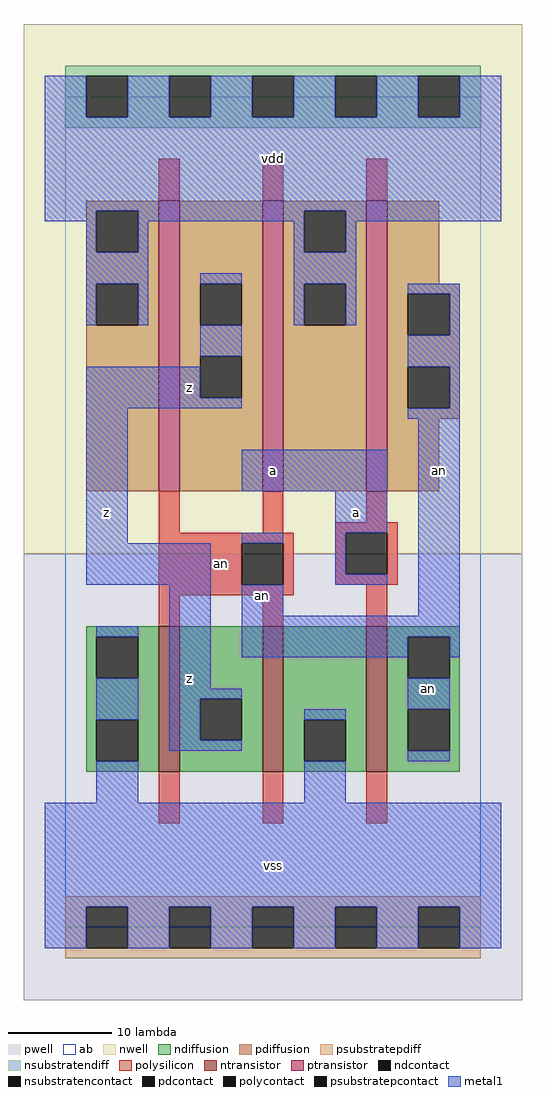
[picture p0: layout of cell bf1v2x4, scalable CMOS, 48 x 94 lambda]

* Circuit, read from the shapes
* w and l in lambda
.subckt bf1v2x4 a an vdd vss z
M1 z an vss vss nfet w=14 l=2 m=2
M2 an a vss vss nfet w=14 l=2
M3 z an vdd vdd pfet w=28 l=2 m=2
M4 an a vdd vdd pfet w=28 l=2
.ends

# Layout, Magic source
magic
tech scmos
<< ab >>
rect 0 0 40 80
<< pwell >>
rect -4 -7 44 36
<< nwell >>
rect -4 36 44 87
<< polysilicon >>
rect 9 70 11 74
rect 19 70 21 74
rect 29 70 31 74
rect 9 38 11 42
rect 19 38 21 42
rect 29 39 31 42
rect 26 38 32 39
rect 9 37 22 38
rect 9 33 17 37
rect 21 33 22 37
rect 26 34 27 38
rect 31 34 32 38
rect 26 33 32 34
rect 9 32 22 33
rect 9 29 11 32
rect 19 29 21 32
rect 29 29 31 33
rect 9 10 11 15
rect 19 10 21 15
rect 29 10 31 15
<< ndiffusion >>
rect 2 28 9 29
rect 2 24 3 28
rect 7 24 9 28
rect 2 20 9 24
rect 2 16 3 20
rect 7 16 9 20
rect 2 15 9 16
rect 11 22 19 29
rect 11 18 13 22
rect 17 18 19 22
rect 11 15 19 18
rect 21 20 29 29
rect 21 16 23 20
rect 27 16 29 20
rect 21 15 29 16
rect 31 28 38 29
rect 31 24 33 28
rect 37 24 38 28
rect 31 21 38 24
rect 31 17 33 21
rect 37 17 38 21
rect 31 15 38 17
<< pdiffusion >>
rect 2 69 9 70
rect 2 65 3 69
rect 7 65 9 69
rect 2 62 9 65
rect 2 58 3 62
rect 7 58 9 62
rect 2 42 9 58
rect 11 62 19 70
rect 11 58 13 62
rect 17 58 19 62
rect 11 55 19 58
rect 11 51 13 55
rect 17 51 19 55
rect 11 42 19 51
rect 21 69 29 70
rect 21 65 23 69
rect 27 65 29 69
rect 21 62 29 65
rect 21 58 23 62
rect 27 58 29 62
rect 21 42 29 58
rect 31 62 36 70
rect 31 61 38 62
rect 31 57 33 61
rect 37 57 38 61
rect 31 54 38 57
rect 31 50 33 54
rect 37 50 38 54
rect 31 49 38 50
rect 31 42 36 49
<< metal1 >>
rect -2 78 2 82
rect 6 78 10 82
rect 14 78 18 82
rect 22 78 26 82
rect 30 78 34 82
rect 38 78 42 82
rect -2 69 42 78
rect -2 68 3 69
rect 2 65 3 68
rect 7 68 23 69
rect 7 65 8 68
rect 2 62 8 65
rect 22 65 23 68
rect 27 68 42 69
rect 27 65 28 68
rect 2 58 3 62
rect 7 58 8 62
rect 13 62 17 63
rect 22 62 28 65
rect 22 58 23 62
rect 27 58 28 62
rect 33 61 38 62
rect 13 55 17 58
rect 2 51 13 54
rect 2 50 17 51
rect 37 57 38 61
rect 33 54 38 57
rect 37 50 38 54
rect 2 37 6 50
rect 33 49 38 50
rect 17 42 31 46
rect 26 38 31 42
rect 17 37 21 38
rect 2 33 14 37
rect 3 28 7 29
rect 3 20 7 24
rect 10 23 14 33
rect 26 34 27 38
rect 26 33 31 34
rect 17 30 21 33
rect 34 30 38 49
rect 17 28 38 30
rect 17 26 33 28
rect 37 26 38 28
rect 10 22 17 23
rect 10 18 13 22
rect 33 21 37 24
rect 10 17 17 18
rect 23 20 27 21
rect 3 12 7 16
rect 33 16 37 17
rect 23 12 27 16
rect -2 2 42 12
rect -2 -2 2 2
rect 6 -2 10 2
rect 14 -2 18 2
rect 22 -2 26 2
rect 30 -2 34 2
rect 38 -2 42 2
<< ntransistor >>
rect 9 15 11 29
rect 19 15 21 29
rect 29 15 31 29
<< ptransistor >>
rect 9 42 11 70
rect 19 42 21 70
rect 29 42 31 70
<< polycontact >>
rect 17 33 21 37
rect 27 34 31 38
<< ndcontact >>
rect 3 24 7 28
rect 3 16 7 20
rect 13 18 17 22
rect 23 16 27 20
rect 33 24 37 28
rect 33 17 37 21
<< pdcontact >>
rect 3 65 7 69
rect 3 58 7 62
rect 13 58 17 62
rect 13 51 17 55
rect 23 65 27 69
rect 23 58 27 62
rect 33 57 37 61
rect 33 50 37 54
<< psubstratepcontact >>
rect 2 -2 6 2
rect 10 -2 14 2
rect 18 -2 22 2
rect 26 -2 30 2
rect 34 -2 38 2
<< nsubstratencontact >>
rect 2 78 6 82
rect 10 78 14 82
rect 18 78 22 82
rect 26 78 30 82
rect 34 78 38 82
<< psubstratepdiff >>
rect 0 2 40 3
rect 0 -2 2 2
rect 6 -2 10 2
rect 14 -2 18 2
rect 22 -2 26 2
rect 30 -2 34 2
rect 38 -2 40 2
rect 0 -3 40 -2
<< nsubstratendiff >>
rect 0 82 40 83
rect 0 78 2 82
rect 6 78 10 82
rect 14 78 18 82
rect 22 78 26 82
rect 30 78 34 82
rect 38 78 40 82
rect 0 77 40 78
<< labels >>
rlabel polysilicon 15 35 15 35 6 an
rlabel metal1 4 40 4 40 6 z
rlabel metal1 12 24 12 24 6 z
rlabel metal1 12 52 12 52 6 z
rlabel metal1 20 6 20 6 6 vss
rlabel metal1 19 32 19 32 6 an
rlabel metal1 28 40 28 40 6 a
rlabel metal1 20 44 20 44 6 a
rlabel metal1 20 74 20 74 6 vdd
rlabel metal1 35 23 35 23 6 an
rlabel metal1 36 44 36 44 6 an
<< end >>
